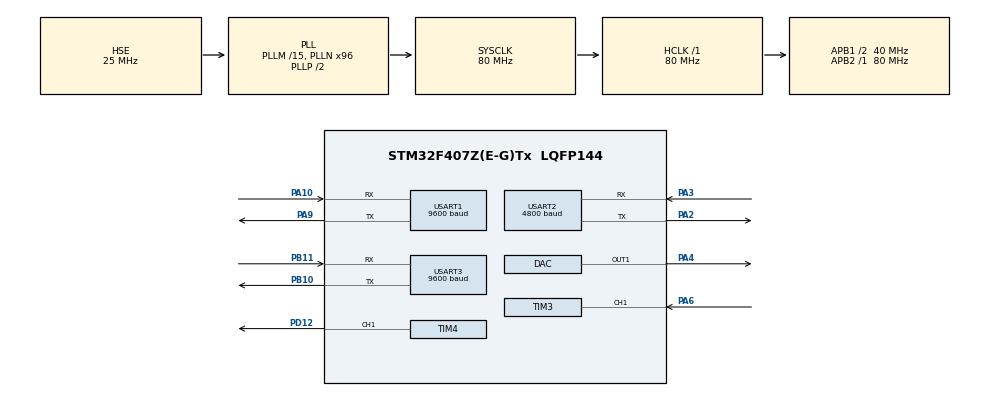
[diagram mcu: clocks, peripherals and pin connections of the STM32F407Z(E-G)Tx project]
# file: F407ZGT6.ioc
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DAC.DAC_Trigger=DAC_TRIGGER_T6_TRGO
DAC.TriangleAmplitude=DAC_TRIANGLEAMPLITUDE_4095
DAC.WaveGeneration=TriangleWaveGeneration
Mcu.Family=STM32F4
Mcu.Name=STM32F407Z(E-G)Tx
Mcu.Package=LQFP144
NVIC.PriorityGroup=NVIC_PRIORITYGROUP_4
NVIC.TIM3_IRQn=true\:0\:0\:false\:false\:true\:true\:true\:true
NVIC.TIM6_DAC_IRQn=true\:0\:0\:false\:false\:true\:true\:true\:true
NVIC.USART1_IRQn=true\:0\:0\:false\:false\:true\:true\:true\:true
NVIC.USART2_IRQn=true\:0\:0\:false\:false\:true\:true\:true\:true
PA10.Mode=Asynchronous
PA10.Signal=USART1_RX
PA13.Mode=Serial_Wire
PA13.Signal=SYS_JTMS-SWDIO
PA14.Mode=Serial_Wire
PA14.Signal=SYS_JTCK-SWCLK
PA2.Mode=Asynchronous
PA2.Signal=USART2_TX
PA3.Mode=Asynchronous
PA3.Signal=USART2_RX
PA4.Signal=COMP_DAC1_group
PA6.Signal=S_TIM3_CH1
PA9.Mode=Asynchronous
PA9.Signal=USART1_TX
PB10.Mode=Asynchronous
PB10.Signal=USART3_TX
PB11.Mode=Asynchronous
PB11.Signal=USART3_RX
PD12.Signal=S_TIM4_CH1
PH0-OSC_IN.Mode=HSE-External-Oscillator
PH0-OSC_IN.Signal=RCC_OSC_IN
PH1-OSC_OUT.Mode=HSE-External-Oscillator
PH1-OSC_OUT.Signal=RCC_OSC_OUT
ProjectManager.HeapSize=0x200
ProjectManager.StackSize=0x400
ProjectManager.TargetToolchain=MDK-ARM V5.32
RCC.48MHZClocksFreq_Value=40000000
RCC.AHBFreq_Value=80000000
RCC.APB1CLKDivider=RCC_HCLK_DIV2
RCC.APB1Freq_Value=40000000
RCC.APB1TimFreq_Value=80000000
RCC.APB2Freq_Value=80000000
RCC.APB2TimFreq_Value=80000000
RCC.CortexFreq_Value=80000000
RCC.HCLKFreq_Value=80000000
RCC.HSE_VALUE=25000000
RCC.HSI_VALUE=16000000
RCC.LSE_VALUE=32768
RCC.PLLM=15
RCC.PLLN=96
RCC.PLLSourceVirtual=RCC_PLLSOURCE_HSE
RCC.SYSCLKFreq_VALUE=80000000
RCC.SYSCLKSource=RCC_SYSCLKSOURCE_PLLCLK
RCC.VCOOutputFreq_Value=160000000
SH.COMP_DAC1_group.0=DAC_OUT1,DAC_OUT1
SH.S_TIM3_CH1.0=TIM3_CH1,Input_Capture1_from_TI1
SH.S_TIM4_CH1.0=TIM4_CH1,PWM Generation1 CH1
TIM3.Channel-Input_Capture1_from_TI1=TIM_CHANNEL_1
TIM3.Channel-Input_Capture2_from_TI1_63=TIM_CHANNEL_2
TIM3.ICPolarity_CH2=TIM_INPUTCHANNELPOLARITY_FALLING
TIM3.Prescaler=79
TIM4.AutoReloadPreload=TIM_AUTORELOAD_PRELOAD_ENABLE
TIM4.Channel-PWM\ Generation1\ CH1=TIM_CHANNEL_1
TIM4.Period=2856
TIM4.Prescaler=503
TIM4.Pulse-PWM\ Generation1\ CH1=214
TIM6.AutoReloadPreload=TIM_AUTORELOAD_PRELOAD_ENABLE
TIM6.Period=999
TIM6.Prescaler=79
USART1.BaudRate=9600
USART1.VirtualMode=VM_ASYNC
USART2.BaudRate=4800
USART2.VirtualMode=VM_ASYNC
USART3.BaudRate=9600
USART3.VirtualMode=VM_ASYNC
VP_TIM3_VS_ClockSourceINT.Mode=Internal
VP_TIM3_VS_indirect_ch1.Mode=Input_Capture2_from_TI1_63
VP_TIM4_VS_ClockSourceINT.Mode=Internal
VP_TIM6_VS_ClockSourceINT.Mode=Enable_Timer
board=custom

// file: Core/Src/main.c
/* USER CODE BEGIN Header */
/**
  ******************************************************************************
  * @file           : main.c
  * @brief          : Main program body
  ******************************************************************************
  * @attention
  *
  * Copyright (c) 2022 STMicroelectronics.
  * All rights reserved.
  *
  * This software is licensed under terms that can be found in the LICENSE file
  * in the root directory of this software component.
  * If no LICENSE file comes with this software, it is provided AS-IS.
  *
  ******************************************************************************
  */
/* USER CODE END Header */
#include "main.h"
#include "dac.h"
#include "tim.h"
#include "usart.h"
#include "gpio.h"

/* USER CODE BEGIN Includes */
#include "FFT.h"
#include "Appliances.h"

/* USER CODE END Includes */

void SystemClock_Config(void);
/* USER CODE BEGIN PFP */
extern uint32_t sys_tick;

uint8_t LCD_Task=0;
uint8_t Measure_Task=0;
uint8_t Scan_Remote_Task=0;
uint8_t bl_task=0;
uint16_t Task_cnt=0;

uint32_t I_temp,T_temp,V_temp,P_temp,PF_temp;
uint8_t Status;
uint8_t learn_flag=0x00;	//自学习标志位,通过按键切换
uint8_t app_num=0;
uint8_t learn_flag_0 = 0;
uint8_t measure_flag=0;
uint8_t menu_flag=1;

uint32_t ccr1_val,ccr2_val,Frq_val;
float Duty_val;

/* USER CODE END PFP */

/* USER CODE BEGIN 0 */
void HAL_TIM_IC_CaptureCallback(TIM_HandleTypeDef *htim)
{
    if(htim->Instance==TIM3)
    {
        ccr2_val=HAL_TIM_ReadCapturedValue(htim,TIM_CHANNEL_1);
        ccr1_val=HAL_TIM_ReadCapturedValue(htim,TIM_CHANNEL_2);
        __HAL_TIM_SetCounter(htim,0);
        Frq_val=(80000000/80/ccr2_val);
        Duty_val=((float)ccr1_val/(float)ccr2_val)*100;
        if(Frq_val>10000)
        {
            Frq_val=0;Duty_val=0;
        }
        if(Duty_val>100)
            Duty_val=0;
        HAL_TIM_IC_Start(htim,TIM_CHANNEL_1);
        HAL_TIM_IC_Start(htim,TIM_CHANNEL_2);
    }
}

void learn_mode(void)
{
	char tbuf[32];
	float voltage;			//测量电压
	float Current;			//测量电流
	float Pow_fac;			//功率因数
	float Pactive_pow;	//有功功率
	float frequency;
    int i=0;

    if(learn_flag_0==1)
    {
        learn_flag_0=0;
        if(Analysis_data(&Current_proper.voltage,&Current_proper.Current,&Current_proper.Pactive_pow,&Current_proper.Pow_fac,&Current_proper.frequency)==1)
        {
            if(app_num==1)
            {
                app1.Current			=Current_proper.Current;
                app1.voltage			=Current_proper.voltage;
                app1.Pactive_pow	=Current_proper.Pactive_pow;
                app1.Pow_fac			=Current_proper.Pow_fac;
            }
            else if(app_num==2)
            {
                app2.Current			=Current_proper.Current;
                app2.voltage			=Current_proper.voltage;
                app2.Pactive_pow	=Current_proper.Pactive_pow;
                app2.Pow_fac			=Current_proper.Pow_fac;
            }
            else if(app_num==3)
            {
                app3.Current			=Current_proper.Current;
                app3.voltage			=Current_proper.voltage;
                app3.Pactive_pow	=Current_proper.Pactive_pow;
                app3.Pow_fac			=Current_proper.Pow_fac;
            }
            else if(app_num==4)
            {
                app4.Current			=Current_proper.Current;
                app4.voltage			=Current_proper.voltage;
                app4.Pactive_pow	=Current_proper.Pactive_pow;
                app4.Pow_fac			=Current_proper.Pow_fac;
            }
            else if(app_num==5)
            {
                app5.Current			=Current_proper.Current;
                app5.voltage			=Current_proper.voltage;
                app5.Pactive_pow	=Current_proper.Pactive_pow;
                app5.Pow_fac			=Current_proper.Pow_fac;
            }
            else if(app_num==6)
            {
                app6.Current			=Current_proper.Current;
                app6.voltage			=Current_proper.voltage;
                app6.Pactive_pow	=Current_proper.Pactive_pow;
                app6.Pow_fac			=Current_proper.Pow_fac;
            }
            else if(app_num==7)
            {
                app7.Current			=Current_proper.Current;
                app7.voltage			=Current_proper.voltage;
                app7.Pactive_pow	=Current_proper.Pactive_pow;
                app7.Pow_fac			=Current_proper.Pow_fac;
            }
            printf("gun_flag.val=1\xff\xff\xff");
            //
        }
    }

}

void JudgeSta(void)
{
	int ElectricalSta[7]={0};	//用电器工作状态
	int len=7;
	int i=0,j=0;
	float p_sta[7];
	float p_sum;			//总功率
	float current;

	float   power[7]={app1.Pactive_pow,app2.Pactive_pow,app3.Pactive_pow,app4.Pactive_pow,app5.Pactive_pow,app6.Pactive_pow,app7.Pactive_pow};
	int times=0,timestmp=0;

	for( i=0;i<7;i++)
	{
			switch(i)
			{
				case 0:app1.sta="off"; printf("sw0.val=0\xff\xff\xff");break;
				case 1:app2.sta="off"; printf("sw1.val=0\xff\xff\xff");break;
				case 2:app3.sta="off"; printf("sw2.val=0\xff\xff\xff");break;
				case 3:app4.sta="off"; printf("sw3.val=0\xff\xff\xff");break;
				case 4:app5.sta="off"; printf("sw4.val=0\xff\xff\xff");break;
				case 5:app6.sta="off"; printf("sw5.val=0\xff\xff\xff");break;
				case 6:app7.sta="off"; printf("sw6.val=0\xff\xff\xff");break;
	 		}
	}
	for(times=0;times<128;times++)
	{
		timestmp=times;
		for(i=0;i<7;i++)
		ElectricalSta[i]=0;
		i=0;
		while(timestmp)
		{
			ElectricalSta[i]=timestmp%2;
			timestmp=timestmp/2;
			i++;
		}
		for(i = 0; i < len; i ++)//遍历数组。
		{
			p_sta[i] = ElectricalSta[i]*power[i];
		}
		for(i=0;i<7;i++)
		{
			p_sum+=p_sta[i];
		}
		if(p_sum<60)
        {
            if(fabsf(p_sum-Current_proper.Pactive_pow)<0.8)  //进行匹配 假设匹配PowerSum
            {
                for( i=0;i<7;i++)
                {
                    if(ElectricalSta[i]==1)
                    {
                        switch(i)
                        {
                            case 0:app1.sta="on"; printf("sw0.val=1\xff\xff\xff");break;
                            case 1:app2.sta="on"; printf("sw1.val=1\xff\xff\xff");break;
                            case 2:app3.sta="on"; printf("sw2.val=1\xff\xff\xff");break;
                            case 3:app4.sta="on"; printf("sw3.val=1\xff\xff\xff");break;
                            case 4:app5.sta="on"; printf("sw4.val=1\xff\xff\xff");break;
                            case 5:app6.sta="on"; printf("sw5.val=1\xff\xff\xff");break;
                            case 6:app7.sta="on"; printf("sw6.val=1\xff\xff\xff");break;
                        }
                    }
                }
                p_sum=0;
                break;
            }
            p_sum=0;
        }
		else
		{
            if(fabsf(p_sum-Current_proper.Pactive_pow)<1.5)  //进行匹配 假设匹配PowerSum
            {
                for( i=0;i<7;i++)
                {
                    if(ElectricalSta[i]==1)
                    {
                        switch(i)
                        {
                            case 0:app1.sta="on"; printf("sw0.val=1\xff\xff\xff");break;
                            case 1:app2.sta="on"; printf("sw1.val=1\xff\xff\xff");break;
                            case 2:app3.sta="on"; printf("sw2.val=1\xff\xff\xff");break;
                            case 3:app4.sta="on"; printf("sw3.val=1\xff\xff\xff");break;
                            case 4:app5.sta="on"; printf("sw4.val=1\xff\xff\xff");break;
                            case 5:app6.sta="on"; printf("sw5.val=1\xff\xff\xff");break;
                            case 6:app7.sta="on"; printf("sw6.val=1\xff\xff\xff");break;
                        }
                    }
                }
                p_sum=0;
                break;
            }
            p_sum=0;
		}
	}

}
void Main_Proc(void)
{
    char buf[20];
    static uint8_t sta=0;
    if(bl_task==1)
    {
        bl_task=0;
        read_enable=1;
        Analysis_data(&Current_proper.voltage,&Current_proper.Current,&Current_proper.Pactive_pow,&Current_proper.Pow_fac,&Current_proper.frequency);
        printf("t14.txt=\"频率:%.2fHz\"\xff\xff\xff",Current_proper.frequency);
        printf("t10.txt=\"电压:%.2fV\"\xff\xff\xff",Current_proper.voltage);
        printf("t12.txt=\"总功率:%.2fW\"\xff\xff\xff",Current_proper.Pactive_pow);
        printf("t13.txt=\"功率因数:%.2f\"\xff\xff\xff",Current_proper.Pow_fac);
        printf("t11.txt=\"电流:%.2fA\"\xff\xff\xff",Current_proper.Current);
        switch(sta)
        {
            case 0:
                sprintf(buf,"vol:%3.2f\r\n",Current_proper.voltage);
                HAL_UART_Transmit(&huart3,(const uint8_t*)buf,strlen(buf),50);
                sta=1;
                break;
            case 1:
                sprintf(buf,"cur:%3.2f\r\n",Current_proper.Current);
                HAL_UART_Transmit(&huart3,(const uint8_t*)buf,strlen(buf),50);
                sta=2;
                break;
            case 2:
                sprintf(buf,"pow:%3.2f\r\n",Current_proper.Pactive_pow);
                HAL_UART_Transmit(&huart3,(const uint8_t*)buf,strlen(buf),50);
                sta=3;
                break;
            case 3:
                sprintf(buf,"frq:%3.2f\r\n",Current_proper.frequency);
                HAL_UART_Transmit(&huart3,(const uint8_t*)buf,strlen(buf),50);
                sta=4;
                break;
            case 4:
                sprintf(buf,"pf:%3.2f\r\n",Current_proper.Pow_fac);
                HAL_UART_Transmit(&huart3,(const uint8_t*)buf,strlen(buf),50);
                sta=0;
                break;
        }
    }
    if(measure_flag==1)
    {
        if(Measure_Task == 1)
        {
            Measure_Task=0;
            JudgeSta();
        }
    }
    else if(learn_flag==1)
    {
        learn_mode();
    }

/*    if(Scan_Remote_Task==1)
    {
        Scan_Remote_Task=0;
        //key1 = Remote_Scan();						//扫描红外遥控信号并接收

        if(menu_flag==1)
        {
            switch(key1){
                case 162:				//CH-
                    learn_flag=1;
                    menu_flag=0;
                    //LCD_Clear(WHITE);
                break;					//切换学习模式
                case 226:				//CH+
                    measure_flag=1;
                    menu_flag=0;
                    //LCD_Clear(WHITE);
                break;//切换
            }
        }
        if(learn_flag == 1)
        {
            switch(key1)
            {
                //选择自学习用电器编号
                case 48		:
                    learn_flag_0=1;
                    app_num =1;
                break;
                    case 24		:
                        learn_flag_0=1;
                        app_num =2;
                break;
                    case 122	:
                        learn_flag_0=1;
                        app_num =3;
                break;
                  case 16		:
                      learn_flag_0=1;
                      app_num =4;
                break;
                  case 56		:
                      learn_flag_0=1;
                      app_num =5;
                break;
                case 90		:
                    learn_flag_0=1;
                    app_num =6;
                break;
                case 66		:
                    learn_flag_0=1;
                    app_num =7;
                break;
                case 98		:				//退出键
                    app_num=0;
                    learn_flag=0;
                    learn_flag_0=0;
                    menu_flag=1;
                    //LCD_Clear(WHITE);
                    //LCD_Display_Handle();
                break;
            }

        }
        if(measure_flag == 1)
        {
            switch(key1)
            {
                case 98	:
                    measure_flag=0;
                    menu_flag=1;
                    //LCD_Clear(WHITE);
                    //LCD_Display_Handle();
                    break;
            }
        }
    }
    */
}
void Uart1_Proc(void)
{
    int i=0;
    if(Rx_str[0]==0x01)
    {
        if(Rx_str[1]==0x02)
        {
            for( i=0;i<7;i++)
            {
                switch(i)
                {
                    case 0:app1.sta="off"; printf("sw0.val=0\xff\xff\xff");break;
                    case 1:app2.sta="off"; printf("sw1.val=0\xff\xff\xff");break;
                    case 2:app3.sta="off"; printf("sw2.val=0\xff\xff\xff");break;
                    case 3:app4.sta="off"; printf("sw3.val=0\xff\xff\xff");break;
                    case 4:app5.sta="off"; printf("sw4.val=0\xff\xff\xff");break;
                    case 5:app6.sta="off"; printf("sw5.val=0\xff\xff\xff");break;
                    case 6:app7.sta="off"; printf("sw6.val=0\xff\xff\xff");break;
                }
            }
            if(Rx_str[2]==0)
            {
                learn_flag_0=0;
                learn_flag=0;
                measure_flag=1;
            }
            else if(Rx_str[2]==1)
            {
                learn_flag=1;
                measure_flag=0;
            }
        }
        else if(Rx_str[1]==0x03)
        {
            switch(Rx_str[2])
            {
                case 1:app_num=1;
                learn_flag_0=1;
                    break;
                case 2:app_num=2;
                learn_flag_0=1;
                    break;
                case 3:app_num=3;
                learn_flag_0=1;
                    break;
                case 4:app_num=4;
                learn_flag_0=1;
                    break;
                case 5:app_num=5;
                learn_flag_0=1;
                    break;
                case 6:app_num=6;
                learn_flag_0=1;
                    break;
                case 7:app_num=7;
                learn_flag_0=1;
                    break;
                default:break;
            }
        }
    }

}
/* USER CODE END 0 */

int main(void)
{

  /* MCU Configuration--------------------------------------------------------*/

  /* Reset of all peripherals, Initializes the Flash interface and the Systick. */
  HAL_Init();

  /* Configure the system clock */
  SystemClock_Config();

  /* Initialize all configured peripherals */
  MX_GPIO_Init();
  MX_DAC_Init();
  MX_TIM3_Init();
  MX_TIM4_Init();
  MX_TIM6_Init();
  MX_USART1_UART_Init();
  MX_USART2_UART_Init();
  MX_USART3_UART_Init();
  /* USER CODE BEGIN 2 */
    HAL_UART_Receive_IT(&huart1,&Rx_buf,1);
    HAL_UART_Receive_IT(&huart2,&Rx2_buf,1);
    HAL_TIM_PWM_Start(&htim4,TIM_CHANNEL_1);
    HAL_TIM_IC_Start_IT(&htim3,TIM_CHANNEL_1);
    //printf("hello\n");
    HAL_Delay(1000);
    measure_flag=1;
    printf("g1.txt=\"正在联网中...\"\xff\xff\xff");
    HAL_Delay(3000);
    printf("g1.txt=\"已连接互联网平台..\"\xff\xff\xff");
    //read_enable=1;
    //read_data();
  /* USER CODE END 2 */

  /* Infinite loop */
  while (1)
  {

    /* USER CODE BEGIN 3 */
      Uart2_Receive_Proc();
      Uart1_Receive_Proc(Uart1_Proc);
      Main_Proc();
  }
  /* USER CODE END 3 */
}

void SystemClock_Config(void)
{
  RCC_OscInitTypeDef RCC_OscInitStruct = {0};
  RCC_ClkInitTypeDef RCC_ClkInitStruct = {0};

  /** Configure the main internal regulator output voltage
  */
  __HAL_RCC_PWR_CLK_ENABLE();
  __HAL_PWR_VOLTAGESCALING_CONFIG(PWR_REGULATOR_VOLTAGE_SCALE1);

  /** Initializes the RCC Oscillators according to the specified parameters
  * in the RCC_OscInitTypeDef structure.
  */
  RCC_OscInitStruct.OscillatorType = RCC_OSCILLATORTYPE_HSE;
  RCC_OscInitStruct.HSEState = RCC_HSE_ON;
  RCC_OscInitStruct.PLL.PLLState = RCC_PLL_ON;
  RCC_OscInitStruct.PLL.PLLSource = RCC_PLLSOURCE_HSE;
  RCC_OscInitStruct.PLL.PLLM = 15;
  RCC_OscInitStruct.PLL.PLLN = 96;
  RCC_OscInitStruct.PLL.PLLP = RCC_PLLP_DIV2;
  RCC_OscInitStruct.PLL.PLLQ = 4;
  if (HAL_RCC_OscConfig(&RCC_OscInitStruct) != HAL_OK)
  {
    Error_Handler();
  }

  /** Initializes the CPU, AHB and APB buses clocks
  */
  RCC_ClkInitStruct.ClockType = RCC_CLOCKTYPE_HCLK|RCC_CLOCKTYPE_SYSCLK
                              |RCC_CLOCKTYPE_PCLK1|RCC_CLOCKTYPE_PCLK2;
  RCC_ClkInitStruct.SYSCLKSource = RCC_SYSCLKSOURCE_PLLCLK;
  RCC_ClkInitStruct.AHBCLKDivider = RCC_SYSCLK_DIV1;
  RCC_ClkInitStruct.APB1CLKDivider = RCC_HCLK_DIV2;
  RCC_ClkInitStruct.APB2CLKDivider = RCC_HCLK_DIV1;

  if (HAL_RCC_ClockConfig(&RCC_ClkInitStruct, FLASH_LATENCY_2) != HAL_OK)
  {
    Error_Handler();
  }
}

void Error_Handler(void)
{
  __disable_irq();
  while (1)
  {
  }
}
